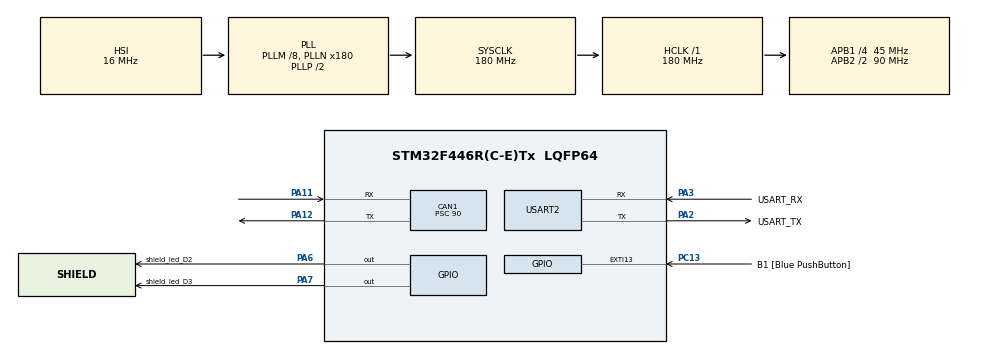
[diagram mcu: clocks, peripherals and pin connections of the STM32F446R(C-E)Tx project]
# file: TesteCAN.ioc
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CAN1.BS1=CAN_BS1_2TQ
CAN1.CalculateBaudRate=125000
CAN1.CalculateTimeBit=8000
CAN1.CalculateTimeQuantum=2000.0
CAN1.Mode=CAN_MODE_NORMAL
CAN1.Prescaler=90
Mcu.Family=STM32F4
Mcu.Name=STM32F446R(C-E)Tx
Mcu.Package=LQFP64
NVIC.CAN1_RX0_IRQn=true\:0\:0\:false\:false\:true\:true\:true\:true
NVIC.CAN1_RX1_IRQn=true\:0\:0\:false\:false\:true\:true\:true\:true
NVIC.EXTI15_10_IRQn=true\:0\:0\:false\:false\:true\:true\:true\:true
NVIC.PriorityGroup=NVIC_PRIORITYGROUP_0
PA11.Mode=CAN_Activate
PA11.Signal=CAN1_RX
PA12.Mode=CAN_Activate
PA12.Signal=CAN1_TX
PA13.GPIO_Label=TMS
PA13.Mode=Serial_Wire
PA13.Signal=SYS_JTMS-SWDIO
PA14.GPIO_Label=TCK
PA14.Mode=Serial_Wire
PA14.Signal=SYS_JTCK-SWCLK
PA2.GPIO_Label=USART_TX
PA2.Mode=Asynchronous
PA2.Signal=USART2_TX
PA3.GPIO_Label=USART_RX
PA3.Mode=Asynchronous
PA3.Signal=USART2_RX
PA6.GPIO_Label=shield_led_D2
PA6.GPIO_ModeDefaultOutputPP=GPIO_MODE_OUTPUT_OD
PA6.GPIO_PuPd=GPIO_NOPULL
PA6.PinState=GPIO_PIN_SET
PA6.Signal=GPIO_Output
PA7.GPIO_Label=shield_led_D3
PA7.GPIO_ModeDefaultOutputPP=GPIO_MODE_OUTPUT_OD
PA7.GPIO_PuPd=GPIO_NOPULL
PA7.PinState=GPIO_PIN_SET
PA7.Signal=GPIO_Output
PC13.GPIO_Label=B1 [Blue PushButton]
PC13.GPIO_ModeDefaultEXTI=GPIO_MODE_IT_FALLING
PC13.Signal=GPXTI13
PC14-OSC32_IN.Mode=LSE-External-Oscillator
PC14-OSC32_IN.Signal=RCC_OSC32_IN
PC15-OSC32_OUT.Mode=LSE-External-Oscillator
PC15-OSC32_OUT.Signal=RCC_OSC32_OUT
PH0-OSC_IN.Mode=HSE-External-Oscillator
PH0-OSC_IN.Signal=RCC_OSC_IN
PH1-OSC_OUT.Mode=HSE-External-Oscillator
PH1-OSC_OUT.Signal=RCC_OSC_OUT
ProjectManager.HeapSize=0x200
ProjectManager.StackSize=0x400
ProjectManager.TargetToolchain=STM32CubeIDE
RCC.48MHZClocksFreq_Value=84000000
RCC.AHBFreq_Value=180000000
RCC.APB1CLKDivider=RCC_HCLK_DIV4
RCC.APB1Freq_Value=45000000
RCC.APB1TimFreq_Value=90000000
RCC.APB2CLKDivider=RCC_HCLK_DIV2
RCC.APB2Freq_Value=90000000
RCC.APB2TimFreq_Value=180000000
RCC.CortexFreq_Value=180000000
RCC.FLatency-AdvancedSettings=FLASH_LATENCY_5
RCC.HCLKFreq_Value=180000000
RCC.HSE_VALUE=8000000
RCC.HSI_VALUE=16000000
RCC.PLLM=8
RCC.PLLN=180
RCC.SYSCLKFreq_VALUE=180000000
RCC.SYSCLKSource=RCC_SYSCLKSOURCE_PLLCLK
RCC.USBFreq_Value=180000000
RCC.VCOOutputFreq_Value=360000000
USART2.VirtualMode=VM_ASYNC
board=NUCLEO-F446RE

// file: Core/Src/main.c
/* USER CODE BEGIN Header */
/**
  ******************************************************************************
  * @file           : main.c
  * @brief          : Main program body
  ******************************************************************************
  * @attention
  *
  * Copyright (c) 2025 STMicroelectronics.
  * All rights reserved.
  *
  * This software is licensed under terms that can be found in the LICENSE file
  * in the root directory of this software component.
  * If no LICENSE file comes with this software, it is provided AS-IS.
  *
  ******************************************************************************
  */
/* USER CODE END Header */
#include "main.h"

CAN_HandleTypeDef hcan1;

UART_HandleTypeDef huart2;

void SystemClock_Config(void);
static void MX_GPIO_Init(void);
static void MX_USART2_UART_Init(void);
static void MX_CAN1_Init(void);

/* USER CODE BEGIN 0 */

CAN_TxHeaderTypeDef TxHeader;
CAN_RxHeaderTypeDef RxHeader;

uint32_t TxMailbox;

uint8_t TxData[8];
uint8_t RxData[8];

uint8_t count = 0;
void HAL_CAN_RxFifo0MsgPendingCallback(CAN_HandleTypeDef *hcan)
{
	count++;
	HAL_CAN_GetRxMessage(&hcan1, CAN_RX_FIFO0, &RxHeader, RxData);
}

void HAL_GPIO_EXTI_Callback(uint16_t GPIO_Pin)
{
	if(GPIO_Pin == GPIO_PIN_13)
	{
		TxData[0] = 100;
		TxData[1] = 10;
		HAL_CAN_AddTxMessage(&hcan1, &TxHeader, TxData, &TxMailbox);
	}
}

/* USER CODE END 0 */

int main(void)
{

  /* MCU Configuration--------------------------------------------------------*/

  /* Reset of all peripherals, Initializes the Flash interface and the Systick. */
  HAL_Init();

  /* Configure the system clock */
  SystemClock_Config();

  /* Initialize all configured peripherals */
  MX_GPIO_Init();
  MX_USART2_UART_Init();
  MX_CAN1_Init();
  /* USER CODE BEGIN 2 */

  HAL_CAN_Start(&hcan1);
  HAL_CAN_ActivateNotification(&hcan1, CAN_IT_RX_FIFO0_MSG_PENDING);

  TxHeader.DLC = 2; //Data Lenght
  TxHeader.ExtId = 0;
  TxHeader.IDE = CAN_ID_STD;
  TxHeader.RTR = CAN_RTR_DATA;
  TxHeader.StdId = 0x406; //ID
  TxHeader.TransmitGlobalTime = DISABLE;

  TxData[0] = 100;
  TxData[1] = 10;
//  HAL_CAN_AddTxMessage(&hcan1, &TxHeader, TxData, &TxMailbox);

  /* USER CODE END 2 */

  /* Infinite loop */
  /* USER CODE BEGIN WHILE */
  while (1)
  {

	  HAL_GPIO_TogglePin(shield_led_D2_GPIO_Port, shield_led_D2_Pin);
	  HAL_GPIO_TogglePin(shield_led_D3_GPIO_Port, shield_led_D3_Pin);
	  HAL_Delay(200);
    /* USER CODE END WHILE */

  }
}

void SystemClock_Config(void)
{
  RCC_OscInitTypeDef RCC_OscInitStruct = {0};
  RCC_ClkInitTypeDef RCC_ClkInitStruct = {0};

  /** Configure the main internal regulator output voltage
  */
  __HAL_RCC_PWR_CLK_ENABLE();
  __HAL_PWR_VOLTAGESCALING_CONFIG(PWR_REGULATOR_VOLTAGE_SCALE1);

  /** Initializes the RCC Oscillators according to the specified parameters
  * in the RCC_OscInitTypeDef structure.
  */
  RCC_OscInitStruct.OscillatorType = RCC_OSCILLATORTYPE_HSI;
  RCC_OscInitStruct.HSIState = RCC_HSI_ON;
  RCC_OscInitStruct.HSICalibrationValue = RCC_HSICALIBRATION_DEFAULT;
  RCC_OscInitStruct.PLL.PLLState = RCC_PLL_ON;
  RCC_OscInitStruct.PLL.PLLSource = RCC_PLLSOURCE_HSI;
  RCC_OscInitStruct.PLL.PLLM = 8;
  RCC_OscInitStruct.PLL.PLLN = 180;
  RCC_OscInitStruct.PLL.PLLP = RCC_PLLP_DIV2;
  RCC_OscInitStruct.PLL.PLLQ = 2;
  RCC_OscInitStruct.PLL.PLLR = 2;
  if (HAL_RCC_OscConfig(&RCC_OscInitStruct) != HAL_OK)
  {
    Error_Handler();
  }

  /** Activate the Over-Drive mode
  */
  if (HAL_PWREx_EnableOverDrive() != HAL_OK)
  {
    Error_Handler();
  }

  /** Initializes the CPU, AHB and APB buses clocks
  */
  RCC_ClkInitStruct.ClockType = RCC_CLOCKTYPE_HCLK|RCC_CLOCKTYPE_SYSCLK
                              |RCC_CLOCKTYPE_PCLK1|RCC_CLOCKTYPE_PCLK2;
  RCC_ClkInitStruct.SYSCLKSource = RCC_SYSCLKSOURCE_PLLCLK;
  RCC_ClkInitStruct.AHBCLKDivider = RCC_SYSCLK_DIV1;
  RCC_ClkInitStruct.APB1CLKDivider = RCC_HCLK_DIV4;
  RCC_ClkInitStruct.APB2CLKDivider = RCC_HCLK_DIV2;

  if (HAL_RCC_ClockConfig(&RCC_ClkInitStruct, FLASH_LATENCY_5) != HAL_OK)
  {
    Error_Handler();
  }
}

static void MX_CAN1_Init(void)
{

  hcan1.Instance = CAN1;
  hcan1.Init.Prescaler = 90;
  hcan1.Init.Mode = CAN_MODE_NORMAL;
  hcan1.Init.SyncJumpWidth = CAN_SJW_1TQ;
  hcan1.Init.TimeSeg1 = CAN_BS1_2TQ;
  hcan1.Init.TimeSeg2 = CAN_BS2_1TQ;
  hcan1.Init.TimeTriggeredMode = DISABLE;
  hcan1.Init.AutoBusOff = DISABLE;
  hcan1.Init.AutoWakeUp = DISABLE;
  hcan1.Init.AutoRetransmission = DISABLE;
  hcan1.Init.ReceiveFifoLocked = DISABLE;
  hcan1.Init.TransmitFifoPriority = DISABLE;
  if (HAL_CAN_Init(&hcan1) != HAL_OK)
  {
    Error_Handler();
  }
  /* USER CODE BEGIN CAN1_Init 2 */

  CAN_FilterTypeDef canfilterconfig;
  canfilterconfig.FilterActivation = CAN_FILTER_ENABLE;
  canfilterconfig.FilterBank = 10;
  canfilterconfig.FilterFIFOAssignment = CAN_RX_FIFO0;
  canfilterconfig.FilterIdHigh = 0;
  canfilterconfig.FilterIdLow = 0x0000;
  canfilterconfig.FilterMaskIdHigh = 0;
  canfilterconfig.FilterMaskIdLow = 0x0000;
  canfilterconfig.FilterMode = CAN_FILTERMODE_IDMASK;
  canfilterconfig.FilterScale = CAN_FILTERSCALE_32BIT;
  canfilterconfig.SlaveStartFilterBank = 0;

  HAL_CAN_ConfigFilter(&hcan1, &canfilterconfig);

  /* USER CODE END CAN1_Init 2 */

}

static void MX_USART2_UART_Init(void)
{

  huart2.Instance = USART2;
  huart2.Init.BaudRate = 115200;
  huart2.Init.WordLength = UART_WORDLENGTH_8B;
  huart2.Init.StopBits = UART_STOPBITS_1;
  huart2.Init.Parity = UART_PARITY_NONE;
  huart2.Init.Mode = UART_MODE_TX_RX;
  huart2.Init.HwFlowCtl = UART_HWCONTROL_NONE;
  huart2.Init.OverSampling = UART_OVERSAMPLING_16;
  if (HAL_UART_Init(&huart2) != HAL_OK)
  {
    Error_Handler();
  }

}

static void MX_GPIO_Init(void)
{
  GPIO_InitTypeDef GPIO_InitStruct = {0};

  /* GPIO Ports Clock Enable */
  __HAL_RCC_GPIOC_CLK_ENABLE();
  __HAL_RCC_GPIOH_CLK_ENABLE();
  __HAL_RCC_GPIOA_CLK_ENABLE();

  /*Configure GPIO pin Output Level */
  HAL_GPIO_WritePin(GPIOA, shield_led_D2_Pin|shield_led_D3_Pin, GPIO_PIN_SET);

  /*Configure GPIO pin : B1_Pin */
  GPIO_InitStruct.Pin = B1_Pin;
  GPIO_InitStruct.Mode = GPIO_MODE_IT_FALLING;
  GPIO_InitStruct.Pull = GPIO_NOPULL;
  HAL_GPIO_Init(B1_GPIO_Port, &GPIO_InitStruct);

  /*Configure GPIO pins : shield_led_D2_Pin shield_led_D3_Pin */
  GPIO_InitStruct.Pin = shield_led_D2_Pin|shield_led_D3_Pin;
  GPIO_InitStruct.Mode = GPIO_MODE_OUTPUT_OD;
  GPIO_InitStruct.Pull = GPIO_NOPULL;
  GPIO_InitStruct.Speed = GPIO_SPEED_FREQ_LOW;
  HAL_GPIO_Init(GPIOA, &GPIO_InitStruct);

  /* EXTI interrupt init*/
  HAL_NVIC_SetPriority(EXTI15_10_IRQn, 0, 0);
  HAL_NVIC_EnableIRQ(EXTI15_10_IRQn);

}

void Error_Handler(void)
{
  __disable_irq();
  while (1)
  {
  }
}
